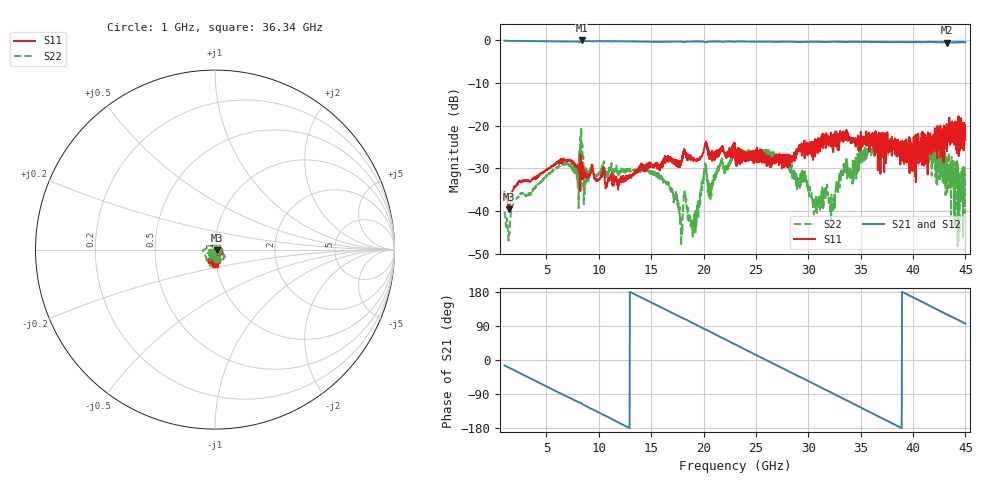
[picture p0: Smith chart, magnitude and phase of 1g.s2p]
!Keysight Technologies,N5247B,MY61255062,A.19.80.06
!Date: Tuesday, May 26, 2026 11:38:14
!Correction: S11(C  2-Port  )
!S21(C  2-Port  )
!S12(C  2-Port  )
!S22(C  2-Port  )
!S2P File: Measurements: S11, S21, S12, S22:
# Hz S  dB  R 50
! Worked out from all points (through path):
!   1601 points, 1 GHz to 45 GHz, reference 50 ohm
!   highest |S21| = -0.09 dB at 8.342 GHz (marker M1); lowest = -0.6 dB at 43.24 GHz (marker M2)
!   group delay of S21, straight-line fit = 38.5 ps
!   lowest |S11| = -39.6 dB at 1.413 GHz (marker M3), VSWR 1.02, Z = 51 - j0.302 ohm
!   |S11| at or under -10 dB: start of sweep to end of sweep
!   |S22| runs from -48.2 to -20.4 dB; largest |S21 - S12| = 0.017
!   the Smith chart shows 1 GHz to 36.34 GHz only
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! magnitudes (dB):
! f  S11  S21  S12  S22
! 1 GHz  -35.6  -0.1  -0.1  -40.1
! 1.413 GHz  -39.6  -0.2  -0.2  -45.8
! 2.402 GHz  -33.1  -0.2  -0.2  -36.1
! 6.61 GHz  -28.3  -0.4  -0.4  -28.8
! 8.342 GHz  -28.6  -0.1  -0.1  -22.5
! 8.783 GHz  -31.9  -0.3  -0.3  -30.1
! 15.69 GHz  -29.8  -0.4  -0.4  -31.8
! 17.77 GHz  -28.3  -0.4  -0.4  -43.0
! 18.3 GHz  -26.3  -0.4  -0.4  -37.9
! 18.93 GHz  -27.4  -0.3  -0.3  -42.9
! 20.11 GHz  -24.8  -0.4  -0.4  -30.9
! 20.61 GHz  -27.6  -0.3  -0.3  -33.6
! 23 GHz  -24.1  -0.4  -0.4  -26.9
! 27.48 GHz  -30.0  -0.4  -0.4  -28.3
! 30.34 GHz  -23.8  -0.4  -0.4  -36.8
! 32.32 GHz  -22.2  -0.4  -0.4  -38.2
! 33.42 GHz  -22.9  -0.4  -0.4  -30.6
! 37.69 GHz  -25.2  -0.5  -0.4  -26.0
! 40.05 GHz  -22.7  -0.5  -0.5  -24.4
! 43.24 GHz  -26.0  -0.6  -0.5  -27.4
! 44.56 GHz  -24.5  -0.5  -0.5  -31.3
! 45 GHz  -23.4  -0.5  -0.5  -31.8
